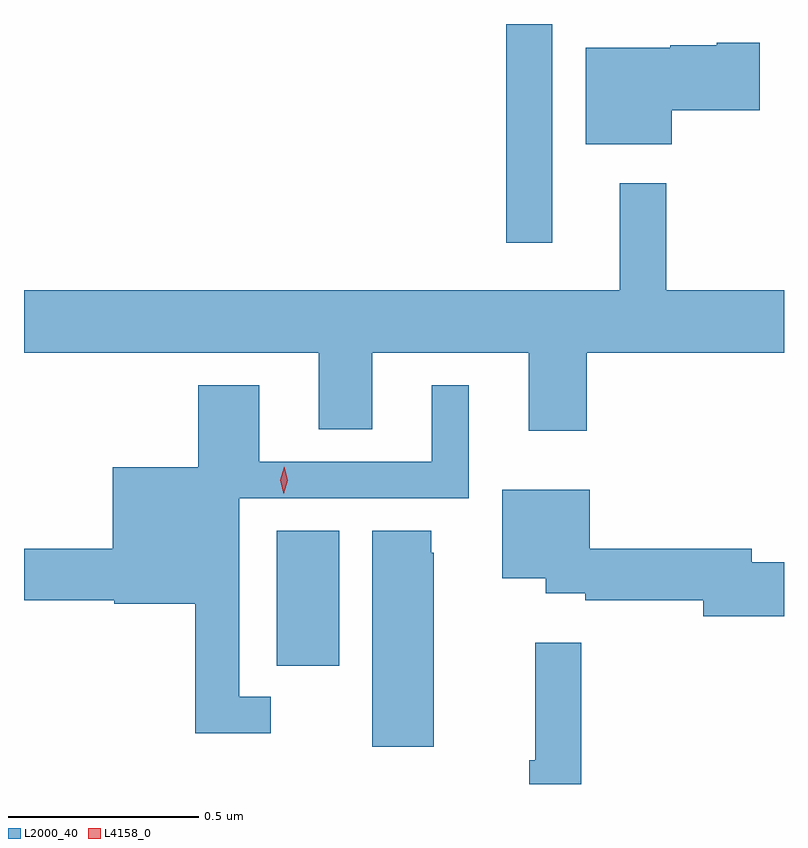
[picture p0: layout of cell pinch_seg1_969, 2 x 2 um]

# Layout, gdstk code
import gdstk
lib = gdstk.Library(unit=1e-6, precision=1e-09)
def R(c, l, rs):  # rectangles x0, y0, x1, y1
    for r in rs: c.add(gdstk.rectangle(r[:2], r[2:], *l))
def P(c, l, *ps):  # polygons
    for p in ps: c.add(gdstk.Polygon(p, *l))
L2000_40 = (2000, 40)
L4158_0 = (4158, 0)

pinch_seg1_969 = lib.new_cell('pinch_seg1_969')
R(pinch_seg1_969, L2000_40, [(190.64,562.896,190.804,563.252), (191.244,564.009,191.365,564.585)])
P(pinch_seg1_969, L2000_40, [(191.68,564.358),(191.911,564.358),(191.911,564.536),(191.798,564.536),(191.798,564.529),(191.676,564.529),(191.676,564.523),(191.453,564.523),(191.453,564.269),(191.68,564.269)],
  [(191.456,563.72),(191.975,563.72),(191.975,563.884),(191.665,563.884),(191.665,564.166),(191.543,564.166),(191.543,563.884),(189.975,563.884),(189.975,563.72),(190.751,563.72),(190.751,563.518),(190.891,563.518),(190.891,563.72),(191.303,563.72),(191.303,563.514),(191.456,563.514)],
  [(190.624,562.815),(190.542,562.815),(190.542,563.337),(191.146,563.337),(191.146,563.635),(191.048,563.635),(191.048,563.433),(190.594,563.433),(190.594,563.635),(190.433,563.635),(190.433,563.419),(190.208,563.419),(190.208,563.204),(189.975,563.204),(189.975,563.068),(190.212,563.068),(190.212,563.06),(190.426,563.06),(190.426,562.718),(190.624,562.718)],
  [(191.975,563.168),(191.89,563.168),(191.89,563.204),(191.464,563.204),(191.464,563.359),(191.234,563.359),(191.234,563.126),(191.348,563.126),(191.348,563.087),(191.452,563.087),(191.452,563.068),(191.762,563.068),(191.762,563.026),(191.975,563.026)],
  [(191.053,563.193),(191.047,563.193),(191.047,563.252),(190.892,563.252),(190.892,562.683),(191.053,562.683)],
  [(191.441,562.957),(191.32,562.957),(191.32,562.648),(191.305,562.648),(191.305,562.585),(191.441,562.585)])
P(pinch_seg1_969, L4158_0, [(190.658,563.349),(190.658,563.349),(190.649,563.385),(190.66,563.42),(190.66,563.42),(190.66,563.42),(190.669,563.384),(190.659,563.349)])

lib.write_gds('pinch_seg1_969.gds')
